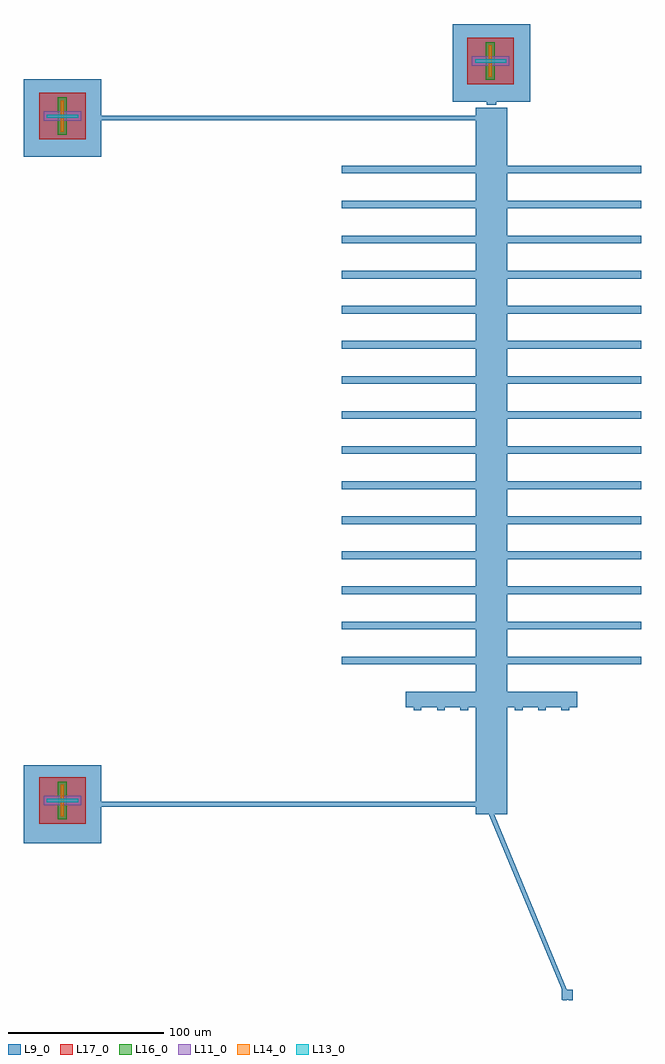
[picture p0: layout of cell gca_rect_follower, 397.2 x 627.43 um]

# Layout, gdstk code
import gdstk
lib = gdstk.Library(unit=1e-6, precision=1e-09)
def R(c, l, rs):  # rectangles x0, y0, x1, y1
    for r in rs: c.add(gdstk.rectangle(r[:2], r[2:], *l))
def A(c, l, x, y, w, h, nx, ny, dx, dy):  # array of equal rectangles
    R(c, l, [(x+i*dx, y+j*dy, x+i*dx+w, y+j*dy+h) for i in range(nx) for j in range(ny)])
def P(c, l, *ps):  # polygons
    for p in ps: c.add(gdstk.Polygon(p, *l))
L9_0 = (9, 0)
L11_0 = (11, 0)
L13_0 = (13, 0)
L14_0 = (14, 0)
L16_0 = (16, 0)
L17_0 = (17, 0)

gca_rect_follower = lib.new_cell('gca_rect_follower')
A(gca_rect_follower, L9_0, 250.841, 85.332, 5, 2, 3, 1, 15, 0)
A(gca_rect_follower, L9_0, 315.841, 85.332, 5, 2, 3, 1, 15, 0)
A(gca_rect_follower, L9_0, 204.441, 114.882, 86.4, 5, 1, 15, 0, 22.55)
A(gca_rect_follower, L9_0, 310.841, 114.882, 86.4, 5, 1, 15, 0, 22.55)
R(gca_rect_follower, L9_0, [(346.6,-100.85,349.1,-100.6), (350.6,-100.85,353.1,-100.6), (346.1,-100.6,353.1,-94.1), (0.041,0.032,50.041,50.032), (10.1,12.4,40.1,42.4), (290.841,18.532,310.841,472.582), (50.041,23.532,290.841,26.532), (245.841,87.332,355.841,97.332), (0.041,441.082,50.041,491.082), (10.1,452.4,40.1,482.4), (50.041,464.582,290.841,467.582), (297.841,474.582,303.841,476.582), (275.841,476.582,325.841,526.582), (285.3,487.8,315.3,517.8)])
P(gca_rect_follower, L9_0, [(346.58,-95.253),(298.543,20.148),(301.313,21.301),(349.35,-94.1)])
R(gca_rect_follower, L11_0, [(13.1,24.4,37.1,30.4), (13.1,464.4,37.1,470.4), (288.3,499.8,312.3,505.8)])
R(gca_rect_follower, L13_0, [(15.1,26.4,35.1,28.4), (15.1,466.4,35.1,468.4), (290.3,501.8,310.3,503.8)])
R(gca_rect_follower, L14_0, [(23.9,17.4,25.9,37.4), (23.9,457.4,25.9,477.4), (299.1,492.8,301.1,512.8)])
R(gca_rect_follower, L16_0, [(21.9,15.4,27.9,39.4), (21.9,455.4,27.9,479.4), (297.1,490.8,303.1,514.8)])
R(gca_rect_follower, L17_0, [(10.1,12.4,40.1,42.4), (10.1,452.4,40.1,482.4), (285.3,487.8,315.3,517.8)])

lib.write_gds('gca_rect_follower.gds')
